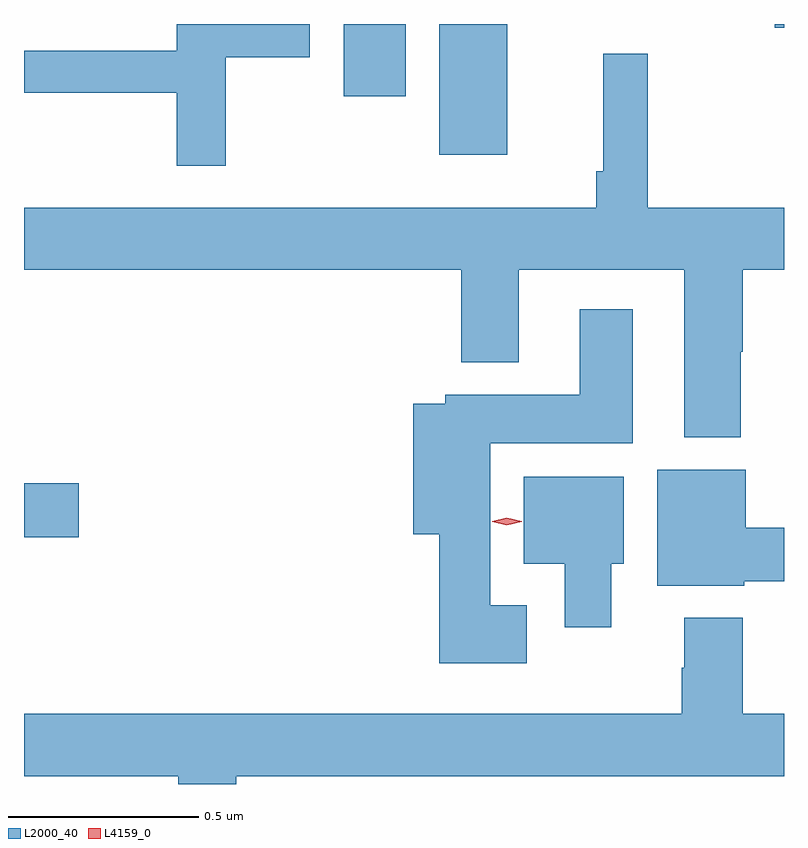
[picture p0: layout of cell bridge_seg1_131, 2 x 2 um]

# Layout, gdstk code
import gdstk
lib = gdstk.Library(unit=1e-6, precision=1e-09)
def R(c, l, rs):  # rectangles x0, y0, x1, y1
    for r in rs: c.add(gdstk.rectangle(r[:2], r[2:], *l))
def P(c, l, *ps):  # polygons
    for p in ps: c.add(gdstk.Polygon(p, *l))
L2000_40 = (2000, 40)
L4159_0 = (4159, 0)

bridge_seg1_131 = lib.new_cell('bridge_seg1_131')
R(bridge_seg1_131, L2000_40, [(481.273,564.349,481.417,564.491), (482.366,565.355,482.545,565.699), (482.114,565.509,482.278,565.699), (483.248,565.689,483.273,565.699)])
P(bridge_seg1_131, L2000_40, [(481.804,565.611),(482.025,565.611),(482.025,565.699),(481.675,565.699),(481.675,565.628),(481.273,565.628),(481.273,565.518),(481.675,565.518),(481.675,565.326),(481.804,565.326)],
  [(483.159,564.837),(483.164,564.837),(483.164,565.052),(483.273,565.052),(483.273,565.216),(482.915,565.216),(482.915,565.621),(482.797,565.621),(482.797,565.312),(482.779,565.312),(482.779,565.216),(481.273,565.216),(481.273,565.052),(482.423,565.052),(482.423,564.809),(482.575,564.809),(482.575,565.052),(483.011,565.052),(483.011,564.611),(483.159,564.611)],
  [(482.596,564.169),(482.5,564.169),(482.5,564.596),(482.875,564.596),(482.875,564.949),(482.735,564.949),(482.735,564.724),(482.382,564.724),(482.382,564.7),(482.297,564.7),(482.297,564.356),(482.366,564.356),(482.366,564.017),(482.596,564.017)],
  [(483.168,564.232),(483.273,564.232),(483.273,564.374),(483.172,564.374),(483.172,564.526),(482.939,564.526),(482.939,564.221),(483.168,564.221)],
  [(482.818,564.278),(482.851,564.278),(482.851,564.508),(482.588,564.508),(482.588,564.278),(482.696,564.278),(482.696,564.111),(482.818,564.111)],
  [(481.832,563.72),(483.273,563.72),(483.273,563.884),(483.164,563.884),(483.164,564.136),(483.011,564.136),(483.011,564.005),(483.004,564.005),(483.004,563.884),(481.273,563.884),(481.273,563.72),(481.679,563.72),(481.679,563.699),(481.832,563.699)])
P(bridge_seg1_131, L4159_0, [(482.544,564.38),(482.505,564.389),(482.505,564.39),(482.505,564.39),(482.544,564.4),(482.583,564.39),(482.583,564.39),(482.583,564.389)])

lib.write_gds('bridge_seg1_131.gds')
